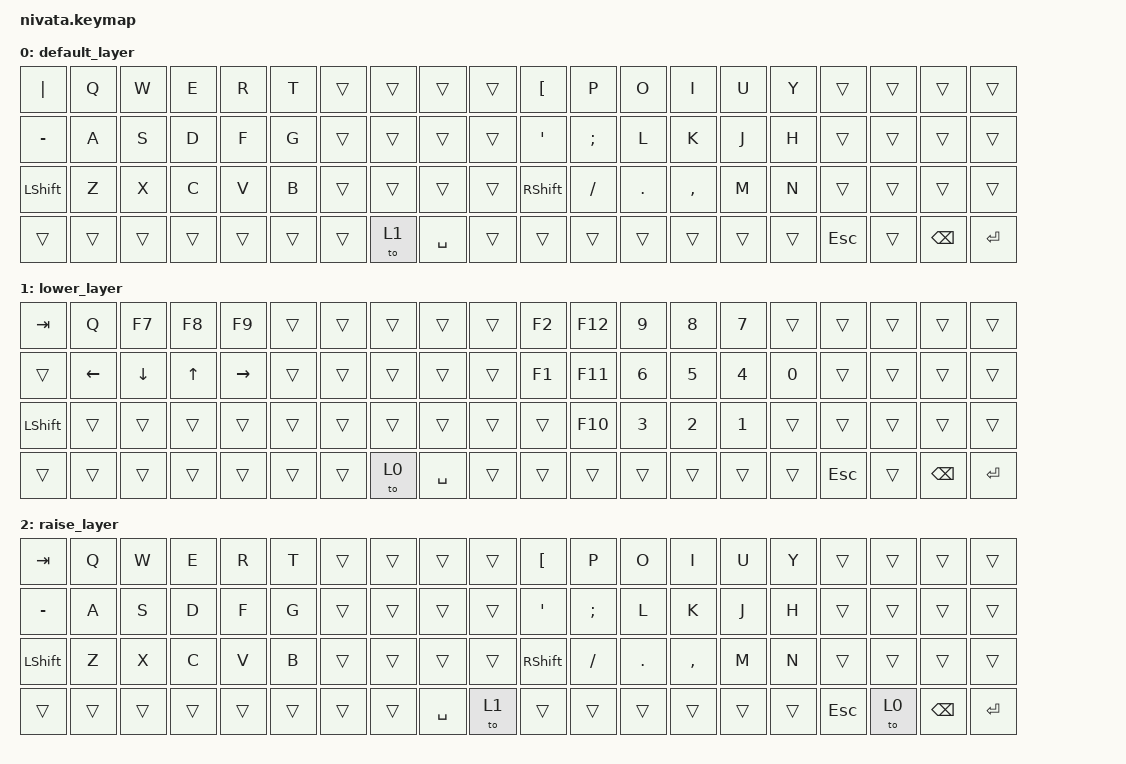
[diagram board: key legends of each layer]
#include <behaviors.dtsi>
#include <dt-bindings/zmk/keys.h>
#include <dt-bindings/zmk/bt.h>

/ {
        keymap {
                compatible = "zmk,keymap";

// ---------------------------------------------------------------------------------------------------------------------------
// | TAB |  Q  |  W  |  E  |  R  |  T  |                                                 |  Z  |  U  |  I  |  O  |  P  |  Ü  |
// |  ß  |  A  |  S  |  D  |  F  |  G  |                                                 |  H  |  J  |  K  |  L  |  Ö  |  Ä  |
// |SHIFT|  Y  |  X  |  C  |  V  |  B  |                                                 |  N  |  M  |  ,  |  .  |  -  |SHIFT|
//                                     |     |     |SPACE|     |--|BCKSP|ENTER|     |ESC |
// ---------------------------------------------------------------------------------------------------------------------------

                default_layer {

                        bindings = <
  &kp PIPE   &kp Q     &kp W     &kp E     &kp R      &kp T      &trans     &trans      &trans    &trans     &kp LBKT    &kp P     &kp O    &kp I      &kp U     &kp Y        &trans     &trans       &trans        &trans    
  &kp MINUS  &kp A     &kp S     &kp D     &kp F      &kp G      &trans     &trans      &trans    &trans     &kp SQT     &kp SEMI  &kp L    &kp K      &kp J     &kp H        &trans     &trans       &trans        &trans
  &kp LSHFT  &kp Z     &kp X     &kp C     &kp V      &kp B      &trans     &trans      &trans    &trans     &kp RSHIFT  &kp SLASH &kp DOT  &kp COMMA  &kp M     &kp N        &trans     &trans       &trans        &trans
  &trans     &trans    &trans    &trans    &trans     &trans     &trans     &to 1       &kp SPACE &trans     &trans      &trans    &trans   &trans     &trans    &trans       &kp ESC    &trans       &kp BSPC      &kp ENTER   
  >;
                };
                lower_layer {

                        bindings = <
  &kp TAB    &kp Q     &kp F7    &kp F8    &kp F9     &trans     &trans     &trans      &trans    &trans     &kp F2      &kp F12   &kp N9   &kp N8     &kp N7    &trans       &trans     &trans       &trans        &trans    
  &trans     &kp LEFT  &kp DOWN  &kp UP    &kp RIGHT  &trans     &trans     &trans      &trans    &trans     &kp F1      &kp F11   &kp N6   &kp N5     &kp N4    &kp N0       &trans     &trans       &trans        &trans
  &kp LSHFT  &trans    &trans    &trans    &trans     &trans     &trans     &trans      &trans    &trans     &trans      &kp F10   &kp N3   &kp N2     &kp N1    &trans       &trans     &trans       &trans        &trans
  &trans     &trans    &trans    &trans    &trans     &trans     &trans     &to 0       &kp SPACE &trans      &trans      &trans    &trans   &trans     &trans    &trans       &kp ESC    &trans       &kp BSPC      &kp ENTER   
                        >;
                };
                raise_layer {

                        bindings = <
  &kp TAB    &kp Q     &kp W     &kp E     &kp R      &kp T      &trans     &trans      &trans    &trans     &kp LBKT    &kp P     &kp O    &kp I      &kp U     &kp Y        &trans     &trans       &trans        &trans    
  &kp MINUS  &kp A     &kp S     &kp D     &kp F      &kp G      &trans     &trans      &trans    &trans     &kp SQT     &kp SEMI  &kp L    &kp K      &kp J     &kp H        &trans     &trans       &trans        &trans
  &kp LSHFT  &kp Z     &kp X     &kp C     &kp V      &kp B      &trans     &trans      &trans    &trans     &kp RSHIFT  &kp SLASH &kp DOT  &kp COMMA  &kp M     &kp N        &trans     &trans       &trans        &trans
  &trans     &trans    &trans    &trans    &trans     &trans     &trans     &trans      &kp SPACE &to 1      &trans      &trans    &trans   &trans     &trans    &trans       &kp ESC    &to 0        &kp BSPC      &kp ENTER   
                        >;
                };
        };
};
